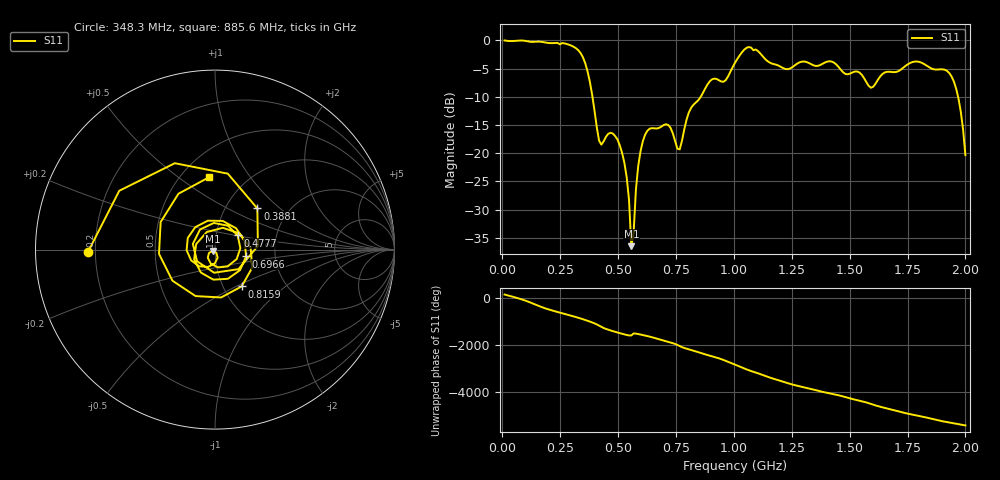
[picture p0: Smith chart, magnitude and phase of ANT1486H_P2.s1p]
!Created with skrf (http://scikit-rf.org).
# Hz S RI R 50.0
!freq ReS11 ImS11
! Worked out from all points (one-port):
!   201 points, 10 MHz to 2 GHz, reference 50 ohm
!   lowest |S11| = -36.5 dB at 557.2 MHz (marker M1), VSWR 1.03, Z = 48.7 - j0.718 ohm
!   |S11| at or under -10 dB: 389.3 MHz to 857.1 MHz (467.7 MHz wide, 75.1 % of centre); 1.968 GHz to end of sweep
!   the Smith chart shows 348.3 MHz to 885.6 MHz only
!   S11 on the Smith chart (normalised r, x): 348.3 MHz: 0.17, -0.01; 388.1 MHz: 1.40, +0.72; 477.6 MHz: 1.27, +0.21; 696.5 MHz: 1.41, -0.11; 816 MHz: 1.22, -0.53; 885.6 MHz: 0.68, +0.65
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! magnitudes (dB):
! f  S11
! 10 MHz  0.0
! 258.8 MHz  -0.5
! 348.3 MHz  -3.0
! 388.1 MHz  -9.7
! 417.9 MHz  -17.8
! 477.6 MHz  -16.5
! 507.5 MHz  -18.6
! 537.4 MHz  -24.3
! 547.3 MHz  -28.3
! 557.2 MHz  -36.5
! 567.2 MHz  -34.1
! 587.1 MHz  -22.3
! 607 MHz  -17.9
! 696.5 MHz  -15.0
! 756.2 MHz  -19.2
! 816 MHz  -11.9
! 885.6 MHz  -7.9
! 965.2 MHz  -7.0
! 1.005 GHz  -4.0
! 1.065 GHz  -1.2
! 1.254 GHz  -4.7
! 1.413 GHz  -3.7
! 1.502 GHz  -5.9
! 1.592 GHz  -8.4
! 1.751 GHz  -4.3
! 1.94 GHz  -6.4
! 1.97 GHz  -10.3
! 2 GHz  -20.3
